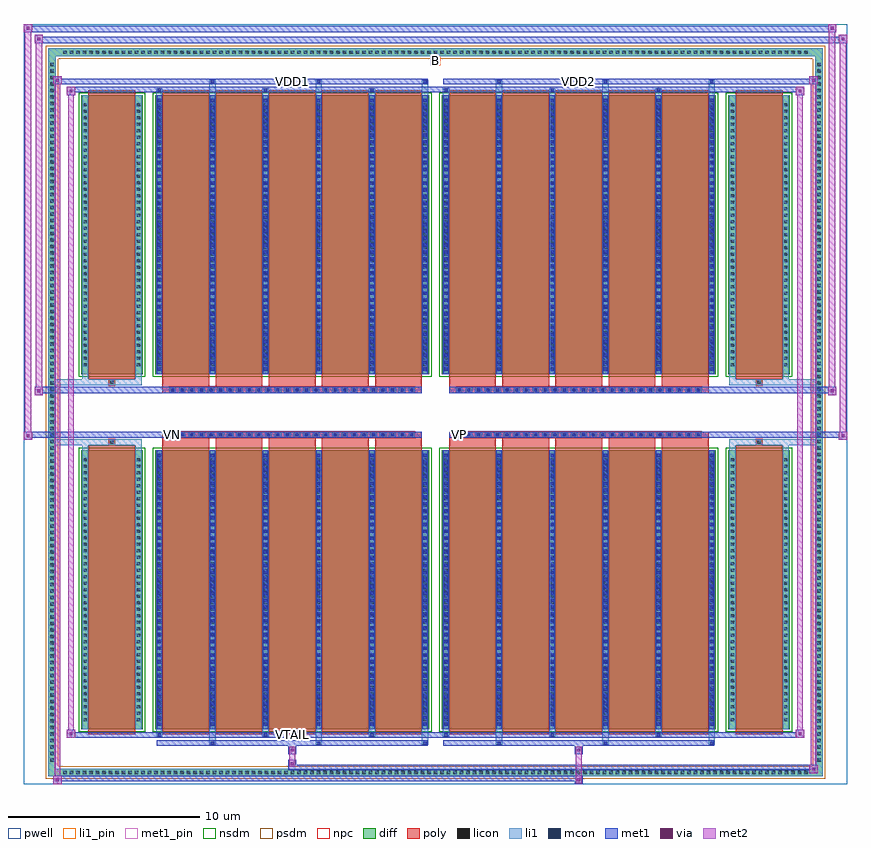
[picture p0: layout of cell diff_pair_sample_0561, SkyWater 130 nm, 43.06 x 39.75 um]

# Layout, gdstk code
import gdstk
lib = gdstk.Library(unit=1e-6, precision=5e-09)
def R(c, l, rs):  # rectangles x0, y0, x1, y1
    for r in rs: c.add(gdstk.rectangle(r[:2], r[2:], *l))
def A(c, l, x, y, w, h, nx, ny, dx, dy):  # array of equal rectangles
    R(c, l, [(x+i*dx, y+j*dy, x+i*dx+w, y+j*dy+h) for i in range(nx) for j in range(ny)])
def P(c, l, *ps):  # polygons
    for p in ps: c.add(gdstk.Polygon(p, *l))
pwell = (64, 44)
diff = (65, 20)
poly = (66, 20)
licon = (66, 44)
li1_pin = (67, 16)
li1 = (67, 20)
mcon = (67, 44)
met1_pin = (68, 16)
met1 = (68, 20)
via = (68, 44)
met2 = (69, 20)
nsdm = (93, 44)
psdm = (94, 20)
npc = (95, 20)

diff_pair_sample_0561 = lib.new_cell('diff_pair_sample_0561')
R(diff_pair_sample_0561, pwell, [(-21.53,-19.44,21.53,20.31), (-18.85,-17.63,-0.01,-0.805), (0.01,-17.63,18.85,-0.805), (-18.85,0.805,-0.01,17.63), (0.01,0.805,18.85,17.63)])
A(diff_pair_sample_0561, diff, -19.585, -19.04, 0.41, 0.41, 115, 2, 0.34, 37.67)
A(diff_pair_sample_0561, diff, -20.26, -18.395, 0.41, 0.41, 1, 108, 0, 0.34)
A(diff_pair_sample_0561, diff, 19.85, -18.395, 0.41, 0.41, 1, 108, 0, 0.34)
R(diff_pair_sample_0561, diff, [(-19.585,-19.04,19.585,-18.63), (-20.26,-18.395,-19.85,18.395), (19.85,-18.395,20.26,18.395), (-18.54,-16.585,-15.31,-1.985), (-14.67,-16.585,-0.32,-1.985), (0.32,-16.585,14.67,-1.985), (15.31,-16.585,18.54,-1.985), (-18.54,1.985,-15.31,16.585), (-14.67,1.985,-0.32,16.585), (0.32,1.985,14.67,16.585), (15.31,1.985,18.54,16.585), (-19.585,18.63,19.585,19.04)])
P(diff_pair_sample_0561, diff, [(20.26,19.04),(-20.26,19.04),(-20.26,-18.63),(-19.85,-18.63),(-19.85,18.63),(19.85,18.63),(19.85,-18.63),(-19.85,-18.63),(-20.26,-18.63),(-20.26,-19.04),(20.26,-19.04)])
A(diff_pair_sample_0561, poly, -14.28, -16.835, 2.45, 15.1, 5, 2, 2.78, 18.57)
A(diff_pair_sample_0561, poly, 0.71, -16.835, 2.45, 15.1, 5, 2, 2.78, 18.57)
A(diff_pair_sample_0561, poly, -14.28, -1.735, 2.45, 0.4, 5, 2, 2.78, 3.07)
A(diff_pair_sample_0561, poly, 0.71, -1.735, 2.45, 0.4, 5, 2, 2.78, 3.07)
A(diff_pair_sample_0561, poly, -13.91, -1.335, 0.33, 0.33, 26, 2, 0.5, 2.34)
A(diff_pair_sample_0561, poly, 1.08, -1.335, 0.33, 0.33, 26, 2, 0.5, 2.34)
R(diff_pair_sample_0561, poly, [(-18.15,-16.835,-15.7,-1.735), (15.7,-16.835,18.15,-1.735), (-17.09,-1.735,-16.76,-1.405), (-17.09,-1.735,-16.76,-1.405), (16.76,-1.735,17.09,-1.405), (16.76,-1.735,17.09,-1.405), (-14.28,-1.335,-0.71,-1.005), (0.71,-1.335,14.28,-1.005), (-14.28,1.005,-0.71,1.335), (0.71,1.005,14.28,1.335), (-17.09,1.405,-16.76,1.735), (-17.09,1.405,-16.76,1.735), (16.76,1.405,17.09,1.735), (16.76,1.405,17.09,1.735), (-18.15,1.735,-15.7,16.835), (15.7,1.735,18.15,16.835)])
A(diff_pair_sample_0561, licon, -19.465, -18.92, 0.17, 0.17, 115, 2, 0.34, 37.67)
A(diff_pair_sample_0561, licon, -20.14, -18.275, 0.17, 0.17, 1, 108, 0, 0.34)
A(diff_pair_sample_0561, licon, 19.97, -18.275, 0.17, 0.17, 1, 108, 0, 0.34)
A(diff_pair_sample_0561, licon, -18.4, -16.17, 0.17, 0.17, 1, 41, 0, 0.34)
A(diff_pair_sample_0561, licon, -15.62, -16.17, 0.17, 0.17, 1, 41, 0, 0.34)
A(diff_pair_sample_0561, licon, -14.53, -16.17, 0.17, 0.17, 6, 41, 2.78, 0.34)
A(diff_pair_sample_0561, licon, 0.46, -16.17, 0.17, 0.17, 6, 41, 2.78, 0.34)
A(diff_pair_sample_0561, licon, 15.45, -16.17, 0.17, 0.17, 1, 41, 0, 0.34)
A(diff_pair_sample_0561, licon, 18.23, -16.17, 0.17, 0.17, 1, 41, 0, 0.34)
A(diff_pair_sample_0561, licon, -13.83, -1.255, 0.17, 0.17, 26, 2, 0.5, 2.34)
A(diff_pair_sample_0561, licon, 1.16, -1.255, 0.17, 0.17, 26, 2, 0.5, 2.34)
A(diff_pair_sample_0561, licon, -18.4, 2.4, 0.17, 0.17, 1, 41, 0, 0.34)
A(diff_pair_sample_0561, licon, -15.62, 2.4, 0.17, 0.17, 1, 41, 0, 0.34)
A(diff_pair_sample_0561, licon, -14.53, 2.4, 0.17, 0.17, 6, 41, 2.78, 0.34)
A(diff_pair_sample_0561, licon, 0.46, 2.4, 0.17, 0.17, 6, 41, 2.78, 0.34)
A(diff_pair_sample_0561, licon, 15.45, 2.4, 0.17, 0.17, 1, 41, 0, 0.34)
A(diff_pair_sample_0561, licon, 18.23, 2.4, 0.17, 0.17, 1, 41, 0, 0.34)
R(diff_pair_sample_0561, licon, [(-17.01,-1.655,-16.84,-1.485), (16.84,-1.655,17.01,-1.485), (-17.01,1.485,-16.84,1.655), (16.84,1.485,17.01,1.655)])
R(diff_pair_sample_0561, li1_pin, [(-0.25,18.13,0.25,18.63)])
A(diff_pair_sample_0561, li1, -19.545, -19, 0.33, 0.33, 115, 2, 0.34, 37.67)
A(diff_pair_sample_0561, li1, -20.22, -18.355, 0.33, 0.33, 1, 108, 0, 0.34)
A(diff_pair_sample_0561, li1, 19.89, -18.355, 0.33, 0.33, 1, 108, 0, 0.34)
A(diff_pair_sample_0561, li1, -11.83, -17.39, 0.33, 0.805, 3, 2, 5.56, 33.975)
A(diff_pair_sample_0561, li1, -11.75, -17.39, 0.17, 0.17, 3, 2, 5.56, 34.61)
A(diff_pair_sample_0561, li1, 3.16, -17.39, 0.33, 0.805, 3, 2, 5.56, 33.975)
A(diff_pair_sample_0561, li1, 3.24, -17.39, 0.17, 0.17, 3, 2, 5.56, 34.61)
A(diff_pair_sample_0561, li1, -14.61, -16.96, 0.33, 0.375, 3, 2, 5.56, 33.545)
A(diff_pair_sample_0561, li1, -14.53, -16.96, 0.17, 0.17, 3, 2, 5.56, 33.75)
A(diff_pair_sample_0561, li1, 0.38, -16.96, 0.33, 0.375, 3, 2, 5.56, 33.545)
A(diff_pair_sample_0561, li1, 0.46, -16.96, 0.17, 0.17, 3, 2, 5.56, 33.75)
A(diff_pair_sample_0561, li1, -14.61, -16.585, 0.33, 14.6, 6, 2, 2.78, 18.57)
A(diff_pair_sample_0561, li1, 0.38, -16.585, 0.33, 14.6, 6, 2, 2.78, 18.57)
A(diff_pair_sample_0561, li1, -14.53, -16.39, 0.17, 0.17, 6, 40, 2.78, 0.36)
A(diff_pair_sample_0561, li1, -14.53, -16.39, 0.17, 14.21, 6, 2, 2.78, 18.57)
A(diff_pair_sample_0561, li1, 0.46, -16.39, 0.17, 0.17, 6, 40, 2.78, 0.36)
A(diff_pair_sample_0561, li1, 0.46, -16.39, 0.17, 14.21, 6, 2, 2.78, 18.57)
A(diff_pair_sample_0561, li1, -18.48, -16.25, 0.33, 0.33, 1, 41, 0, 0.34)
A(diff_pair_sample_0561, li1, -15.7, -16.25, 0.33, 0.33, 1, 41, 0, 0.34)
A(diff_pair_sample_0561, li1, -14.61, -16.25, 0.33, 0.33, 6, 41, 2.78, 0.34)
A(diff_pair_sample_0561, li1, 0.38, -16.25, 0.33, 0.33, 6, 41, 2.78, 0.34)
A(diff_pair_sample_0561, li1, 15.37, -16.25, 0.33, 0.33, 1, 41, 0, 0.34)
A(diff_pair_sample_0561, li1, 18.15, -16.25, 0.33, 0.33, 1, 41, 0, 0.34)
A(diff_pair_sample_0561, li1, -13.91, -1.335, 0.33, 0.33, 26, 2, 0.5, 2.34)
A(diff_pair_sample_0561, li1, 1.08, -1.335, 0.33, 0.33, 26, 2, 0.5, 2.34)
A(diff_pair_sample_0561, li1, -14.53, 2.18, 0.17, 0.17, 6, 40, 2.78, 0.36)
A(diff_pair_sample_0561, li1, 0.46, 2.18, 0.17, 0.17, 6, 40, 2.78, 0.36)
A(diff_pair_sample_0561, li1, -18.48, 2.32, 0.33, 0.33, 1, 41, 0, 0.34)
A(diff_pair_sample_0561, li1, -15.7, 2.32, 0.33, 0.33, 1, 41, 0, 0.34)
A(diff_pair_sample_0561, li1, -14.61, 2.32, 0.33, 0.33, 6, 41, 2.78, 0.34)
A(diff_pair_sample_0561, li1, 0.38, 2.32, 0.33, 0.33, 6, 41, 2.78, 0.34)
A(diff_pair_sample_0561, li1, 15.37, 2.32, 0.33, 0.33, 1, 41, 0, 0.34)
A(diff_pair_sample_0561, li1, 18.15, 2.32, 0.33, 0.33, 1, 41, 0, 0.34)
R(diff_pair_sample_0561, li1, [(-20.26,-19.04,-19.85,-18.63), (-20.26,-19.04,-19.85,-18.63), (-19.85,-19.04,19.85,-18.63), (19.85,-19.04,20.26,-18.63), (19.85,-19.04,20.26,-18.63), (-20.26,-18.63,-19.85,18.63), (19.85,-18.63,20.26,18.63), (-18.48,-16.585,-18.15,-1.985), (-15.7,-16.585,-15.37,-1.985), (15.37,-16.585,15.7,-1.985), (18.15,-16.585,18.48,-1.985), (-18.48,-1.985,-18.15,-1.405), (-15.7,-1.985,-15.37,-1.405), (15.37,-1.985,15.7,-1.405), (18.15,-1.985,18.48,-1.405), (-20.26,-1.735,-17.09,-1.405), (-18.48,-1.735,-17.09,-1.405), (-17.09,-1.735,-16.76,-1.405), (-16.76,-1.735,-15.37,-1.405), (15.37,-1.735,16.76,-1.405), (16.76,-1.735,17.09,-1.405), (16.76,-1.735,20.26,-1.405), (17.09,-1.735,18.48,-1.405), (-20.26,1.405,-17.09,1.735), (-18.48,1.405,-17.09,1.735), (-18.48,1.405,-18.15,1.985), (-17.09,1.405,-16.76,1.735), (-16.76,1.405,-15.37,1.735), (-15.7,1.405,-15.37,1.985), (15.37,1.405,16.76,1.735), (15.37,1.405,15.7,1.985), (16.76,1.405,17.09,1.735), (16.76,1.405,20.26,1.735), (17.09,1.405,18.48,1.735), (18.15,1.405,18.48,1.985), (-18.48,1.985,-18.15,16.585), (-15.7,1.985,-15.37,16.585), (15.37,1.985,15.7,16.585), (18.15,1.985,18.48,16.585), (-20.26,18.63,-19.85,19.04), (-20.26,18.63,-19.85,19.04), (-19.85,18.63,19.85,19.04), (19.85,18.63,20.26,19.04), (19.85,18.63,20.26,19.04)])
A(diff_pair_sample_0561, mcon, -11.75, -17.39, 0.17, 0.17, 3, 2, 5.56, 34.61)
A(diff_pair_sample_0561, mcon, 3.24, -17.39, 0.17, 0.17, 3, 2, 5.56, 34.61)
A(diff_pair_sample_0561, mcon, -14.53, -16.96, 0.17, 0.17, 3, 2, 5.56, 33.75)
A(diff_pair_sample_0561, mcon, 0.46, -16.96, 0.17, 0.17, 3, 2, 5.56, 33.75)
A(diff_pair_sample_0561, mcon, -14.53, -16.39, 0.17, 0.17, 6, 40, 2.78, 0.36)
A(diff_pair_sample_0561, mcon, 0.46, -16.39, 0.17, 0.17, 6, 40, 2.78, 0.36)
A(diff_pair_sample_0561, mcon, -13.83, -1.255, 0.17, 0.17, 26, 2, 0.5, 2.34)
A(diff_pair_sample_0561, mcon, 1.16, -1.255, 0.17, 0.17, 26, 2, 0.5, 2.34)
A(diff_pair_sample_0561, mcon, -14.53, 2.18, 0.17, 0.17, 6, 40, 2.78, 0.36)
A(diff_pair_sample_0561, mcon, 0.46, 2.18, 0.17, 0.17, 6, 40, 2.78, 0.36)
R(diff_pair_sample_0561, met1_pin, [(-7.63,-17,-7.36,-16.73), (-13.88,-1.295,-13.61,-1.025), (1.11,-1.295,1.38,-1.025), (-7.63,17.18,-7.36,17.45), (7.36,17.18,7.63,17.45)])
A(diff_pair_sample_0561, met1, -11.81, -17.45, 0.29, 0.29, 3, 2, 5.56, 34.61)
A(diff_pair_sample_0561, met1, 3.18, -17.45, 0.29, 0.29, 3, 2, 5.56, 34.61)
A(diff_pair_sample_0561, met1, -14.59, -17.02, 0.29, 0.29, 3, 2, 5.56, 33.75)
A(diff_pair_sample_0561, met1, 0.4, -17.02, 0.29, 0.29, 3, 2, 5.56, 33.75)
A(diff_pair_sample_0561, met1, -14.59, -16.585, 0.29, 14.6, 6, 2, 2.78, 18.57)
A(diff_pair_sample_0561, met1, 0.4, -16.585, 0.29, 14.6, 6, 2, 2.78, 18.57)
A(diff_pair_sample_0561, met1, -14.59, -16.45, 0.29, 0.29, 6, 40, 2.78, 0.36)
A(diff_pair_sample_0561, met1, 0.4, -16.45, 0.29, 0.29, 6, 40, 2.78, 0.36)
A(diff_pair_sample_0561, met1, -13.89, -1.315, 0.29, 0.29, 26, 2, 0.5, 2.34)
A(diff_pair_sample_0561, met1, 1.1, -1.315, 0.29, 0.29, 26, 2, 0.5, 2.34)
A(diff_pair_sample_0561, met1, -14.59, 2.12, 0.29, 0.29, 6, 40, 2.78, 0.36)
A(diff_pair_sample_0561, met1, 0.4, 2.12, 0.29, 0.29, 6, 40, 2.78, 0.36)
R(diff_pair_sample_0561, met1, [(-19.99,-19.44,-19.56,-19.01), (7.28,-19.44,7.71,-19.01), (-19.99,-19.3,7.71,-19.01), (19.56,-18.87,19.99,-18.44), (-7.71,-18.73,19.99,-18.44), (-7.71,-18.59,-7.28,-18.16), (-7.71,-17.88,-7.28,-17.45), (7.28,-17.88,7.71,-17.45), (-14.59,-17.45,-0.4,-17.16), (0.4,-17.45,14.59,-17.16), (-19.28,-17.02,-18.85,-16.59), (-19.28,-17.02,-14.59,-16.73), (-14.59,-17.02,-0.4,-16.73), (-0.4,-17.02,0.4,-16.73), (0.4,-17.02,14.59,-16.73), (14.59,-17.02,19.28,-16.73), (18.85,-17.02,19.28,-16.59), (-21.53,-1.435,-21.1,-1.005), (21.1,-1.435,21.53,-1.005), (-21.53,-1.335,-0.71,-1.005), (-14.28,-1.335,-0.71,-1.005), (0.71,-1.335,14.28,-1.005), (0.71,-1.335,21.53,-1.005), (-20.96,0.905,-20.53,1.335), (20.53,0.905,20.96,1.335), (-20.96,1.005,-14.28,1.335), (-14.28,1.005,-0.71,1.335), (0.71,1.005,14.28,1.335), (14.28,1.005,20.96,1.335), (-19.28,16.59,-18.85,17.02), (18.85,16.59,19.28,17.02), (-19.28,16.73,-14.59,17.02), (-14.59,16.73,-0.4,17.02), (-0.4,16.73,0.4,17.02), (0.4,16.73,14.59,17.02), (14.59,16.73,19.28,17.02), (-19.99,17.16,-19.56,17.59), (-19.99,17.16,-14.59,17.45), (-14.59,17.16,-0.4,17.45), (0.4,17.16,14.59,17.45), (14.59,17.16,19.99,17.45), (19.56,17.16,19.99,17.59), (-20.96,19.31,-20.53,19.74), (-20.96,19.31,-18.85,19.64), (-18.85,19.31,18.85,19.64), (18.85,19.31,21.53,19.64), (21.1,19.31,21.53,19.74), (-21.53,19.88,-21.1,20.31), (-21.53,19.88,-18.85,20.21), (-18.85,19.88,18.85,20.21), (18.85,19.88,20.96,20.21), (20.53,19.88,20.96,20.31)])
R(diff_pair_sample_0561, via, [(-19.85,-19.3,-19.7,-19.15), (7.42,-19.3,7.57,-19.15), (19.7,-18.73,19.85,-18.58), (-7.57,-18.45,-7.42,-18.3), (-7.57,-17.74,-7.42,-17.59), (7.42,-17.74,7.57,-17.59), (-19.14,-16.88,-18.99,-16.73), (18.99,-16.88,19.14,-16.73), (-21.39,-1.295,-21.24,-1.145), (21.24,-1.295,21.39,-1.145), (-20.82,1.045,-20.67,1.195), (20.67,1.045,20.82,1.195), (-19.14,16.73,-18.99,16.88), (18.99,16.73,19.14,16.88), (-19.85,17.3,-19.7,17.45), (19.7,17.3,19.85,17.45), (-20.82,19.45,-20.67,19.6), (21.24,19.45,21.39,19.6), (-21.39,20.02,-21.24,20.17), (20.67,20.02,20.82,20.17)])
R(diff_pair_sample_0561, met2, [(-19.99,-19.44,-19.56,-19.01), (-19.92,-19.44,-19.63,17.59), (-19.63,-19.44,-19.56,-19.01), (-19.94,-19.39,-19.61,-19.06), (7.33,-19.39,7.66,-19.06), (7.33,-19.06,7.66,-17.83), (19.56,-18.87,19.99,-18.44), (19.63,-18.87,19.92,17.59), (19.92,-18.87,19.99,-18.44), (19.61,-18.82,19.94,-18.49), (-7.66,-18.54,-7.33,-18.21), (-7.66,-18.21,-7.33,-17.83), (-7.66,-17.83,-7.33,-17.5), (7.33,-17.83,7.66,-17.5), (-19.28,-17.02,-18.85,-16.59), (-19.21,-17.02,-18.92,17.02), (-18.92,-17.02,-18.85,-16.59), (18.85,-17.02,19.28,-16.59), (18.92,-17.02,19.21,17.02), (19.21,-17.02,19.28,-16.59), (-19.23,-16.97,-18.9,-16.64), (18.9,-16.97,19.23,-16.64), (-21.53,-1.435,-21.1,-1.005), (-21.48,-1.435,-21.15,20.31), (-21.15,-1.435,-21.1,-1.005), (21.1,-1.435,21.53,-1.005), (21.15,-1.435,21.48,19.74), (21.48,-1.435,21.53,-1.005), (-21.48,-1.385,-21.15,-1.055), (21.15,-1.385,21.48,-1.055), (-20.96,0.905,-20.53,1.335), (-20.91,0.905,-20.58,19.74), (-20.58,0.905,-20.53,1.335), (20.53,0.905,20.96,1.335), (20.58,0.905,20.91,20.31), (20.91,0.905,20.96,1.335), (-20.91,0.955,-20.58,1.285), (20.58,0.955,20.91,1.285), (-19.28,16.59,-18.85,17.02), (-18.92,16.59,-18.85,17.02), (18.85,16.59,19.28,17.02), (19.21,16.59,19.28,17.02), (-19.23,16.64,-18.9,16.97), (18.9,16.64,19.23,16.97), (-19.99,17.16,-19.56,17.59), (-19.63,17.16,-19.56,17.59), (19.56,17.16,19.99,17.59), (19.92,17.16,19.99,17.59), (-19.94,17.21,-19.61,17.54), (19.61,17.21,19.94,17.54), (-20.96,19.31,-20.53,19.74), (-20.58,19.31,-20.53,19.74), (21.1,19.31,21.53,19.74), (21.48,19.31,21.53,19.74), (-20.91,19.36,-20.58,19.69), (21.15,19.36,21.48,19.69), (-21.53,19.88,-21.1,20.31), (-21.15,19.88,-21.1,20.31), (20.53,19.88,20.96,20.31), (20.91,19.88,20.96,20.31), (-21.48,19.93,-21.15,20.26), (20.58,19.93,20.91,20.26)])
R(diff_pair_sample_0561, nsdm, [(-18.67,-16.715,-15.18,-1.855), (-14.8,-16.715,-0.19,-1.855), (0.19,-16.715,14.8,-1.855), (15.18,-16.715,18.67,-1.855), (-18.67,1.855,-15.18,16.715), (-14.8,1.855,-0.19,16.715), (0.19,1.855,14.8,16.715), (15.18,1.855,18.67,16.715)])
P(diff_pair_sample_0561, psdm, [(20.39,19.17),(-20.39,19.17),(-20.39,-18.5),(-19.72,-18.5),(-19.72,18.5),(19.72,18.5),(19.72,-18.5),(-19.72,-18.5),(-20.39,-18.5),(-20.39,-19.17),(20.39,-19.17)])
A(diff_pair_sample_0561, npc, -13.93, -1.355, 0.37, 0.37, 26, 2, 0.5, 2.34)
A(diff_pair_sample_0561, npc, 1.06, -1.355, 0.37, 0.37, 26, 2, 0.5, 2.34)
R(diff_pair_sample_0561, npc, [(-17.11,-1.755,-16.74,-1.385), (16.74,-1.755,17.11,-1.385), (-13.93,-1.355,-13.06,-0.985), (-13.93,-1.355,-13.06,-0.985), (-13.43,-1.355,-12.56,-0.985), (-13.43,-1.355,-12.56,-0.985), (-12.93,-1.355,-12.06,-0.985), (-12.93,-1.355,-12.06,-0.985), (-12.43,-1.355,-11.56,-0.985), (-12.43,-1.355,-11.56,-0.985), (-11.93,-1.355,-11.06,-0.985), (-11.93,-1.355,-11.06,-0.985), (-11.43,-1.355,-10.56,-0.985), (-11.43,-1.355,-10.56,-0.985), (-10.93,-1.355,-10.06,-0.985), (-10.93,-1.355,-10.06,-0.985), (-10.43,-1.355,-9.56,-0.985), (-10.43,-1.355,-9.56,-0.985), (-9.93,-1.355,-9.06,-0.985), (-9.93,-1.355,-9.06,-0.985), (-9.43,-1.355,-8.56,-0.985), (-9.43,-1.355,-8.56,-0.985), (-8.93,-1.355,-8.06,-0.985), (-8.93,-1.355,-8.06,-0.985), (-8.43,-1.355,-7.56,-0.985), (-8.43,-1.355,-7.56,-0.985), (-7.93,-1.355,-7.06,-0.985), (-7.93,-1.355,-7.06,-0.985), (-7.43,-1.355,-6.56,-0.985), (-7.43,-1.355,-6.56,-0.985), (-6.93,-1.355,-6.06,-0.985), (-6.93,-1.355,-6.06,-0.985), (-6.43,-1.355,-5.56,-0.985), (-6.43,-1.355,-5.56,-0.985), (-5.93,-1.355,-5.06,-0.985), (-5.93,-1.355,-5.06,-0.985), (-5.43,-1.355,-4.56,-0.985), (-5.43,-1.355,-4.56,-0.985), (-4.93,-1.355,-4.06,-0.985), (-4.93,-1.355,-4.06,-0.985), (-4.43,-1.355,-3.56,-0.985), (-4.43,-1.355,-3.56,-0.985), (-3.93,-1.355,-3.06,-0.985), (-3.93,-1.355,-3.06,-0.985), (-3.43,-1.355,-2.56,-0.985), (-3.43,-1.355,-2.56,-0.985), (-2.93,-1.355,-2.06,-0.985), (-2.93,-1.355,-2.06,-0.985), (-2.43,-1.355,-1.56,-0.985), (-2.43,-1.355,-1.56,-0.985), (-1.93,-1.355,-1.06,-0.985), (-1.93,-1.355,-1.06,-0.985), (1.06,-1.355,1.93,-0.985), (1.06,-1.355,1.93,-0.985), (1.56,-1.355,2.43,-0.985), (1.56,-1.355,2.43,-0.985), (2.06,-1.355,2.93,-0.985), (2.06,-1.355,2.93,-0.985), (2.56,-1.355,3.43,-0.985), (2.56,-1.355,3.43,-0.985), (3.06,-1.355,3.93,-0.985), (3.06,-1.355,3.93,-0.985), (3.56,-1.355,4.43,-0.985), (3.56,-1.355,4.43,-0.985), (4.06,-1.355,4.93,-0.985), (4.06,-1.355,4.93,-0.985), (4.56,-1.355,5.43,-0.985), (4.56,-1.355,5.43,-0.985), (5.06,-1.355,5.93,-0.985), (5.06,-1.355,5.93,-0.985), (5.56,-1.355,6.43,-0.985), (5.56,-1.355,6.43,-0.985), (6.06,-1.355,6.93,-0.985), (6.06,-1.355,6.93,-0.985), (6.56,-1.355,7.43,-0.985), (6.56,-1.355,7.43,-0.985), (7.06,-1.355,7.93,-0.985), (7.06,-1.355,7.93,-0.985), (7.56,-1.355,8.43,-0.985), (7.56,-1.355,8.43,-0.985), (8.06,-1.355,8.93,-0.985), (8.06,-1.355,8.93,-0.985), (8.56,-1.355,9.43,-0.985), (8.56,-1.355,9.43,-0.985), (9.06,-1.355,9.93,-0.985), (9.06,-1.355,9.93,-0.985), (9.56,-1.355,10.43,-0.985), (9.56,-1.355,10.43,-0.985), (10.06,-1.355,10.93,-0.985), (10.06,-1.355,10.93,-0.985), (10.56,-1.355,11.43,-0.985), (10.56,-1.355,11.43,-0.985), (11.06,-1.355,11.93,-0.985), (11.06,-1.355,11.93,-0.985), (11.56,-1.355,12.43,-0.985), (11.56,-1.355,12.43,-0.985), (12.06,-1.355,12.93,-0.985), (12.06,-1.355,12.93,-0.985), (12.56,-1.355,13.43,-0.985), (12.56,-1.355,13.43,-0.985), (13.06,-1.355,13.93,-0.985), (13.06,-1.355,13.93,-0.985), (-13.93,0.985,-13.06,1.355), (-13.93,0.985,-13.06,1.355), (-13.43,0.985,-12.56,1.355), (-13.43,0.985,-12.56,1.355), (-12.93,0.985,-12.06,1.355), (-12.93,0.985,-12.06,1.355), (-12.43,0.985,-11.56,1.355), (-12.43,0.985,-11.56,1.355), (-11.93,0.985,-11.06,1.355), (-11.93,0.985,-11.06,1.355), (-11.43,0.985,-10.56,1.355), (-11.43,0.985,-10.56,1.355), (-10.93,0.985,-10.06,1.355), (-10.93,0.985,-10.06,1.355), (-10.43,0.985,-9.56,1.355), (-10.43,0.985,-9.56,1.355), (-9.93,0.985,-9.06,1.355), (-9.93,0.985,-9.06,1.355), (-9.43,0.985,-8.56,1.355), (-9.43,0.985,-8.56,1.355), (-8.93,0.985,-8.06,1.355), (-8.93,0.985,-8.06,1.355), (-8.43,0.985,-7.56,1.355), (-8.43,0.985,-7.56,1.355), (-7.93,0.985,-7.06,1.355), (-7.93,0.985,-7.06,1.355), (-7.43,0.985,-6.56,1.355), (-7.43,0.985,-6.56,1.355), (-6.93,0.985,-6.06,1.355), (-6.93,0.985,-6.06,1.355), (-6.43,0.985,-5.56,1.355), (-6.43,0.985,-5.56,1.355), (-5.93,0.985,-5.06,1.355), (-5.93,0.985,-5.06,1.355), (-5.43,0.985,-4.56,1.355), (-5.43,0.985,-4.56,1.355), (-4.93,0.985,-4.06,1.355), (-4.93,0.985,-4.06,1.355), (-4.43,0.985,-3.56,1.355), (-4.43,0.985,-3.56,1.355), (-3.93,0.985,-3.06,1.355), (-3.93,0.985,-3.06,1.355), (-3.43,0.985,-2.56,1.355), (-3.43,0.985,-2.56,1.355), (-2.93,0.985,-2.06,1.355), (-2.93,0.985,-2.06,1.355), (-2.43,0.985,-1.56,1.355), (-2.43,0.985,-1.56,1.355), (-1.93,0.985,-1.06,1.355), (-1.93,0.985,-1.06,1.355), (1.06,0.985,1.93,1.355), (1.06,0.985,1.93,1.355), (1.56,0.985,2.43,1.355), (1.56,0.985,2.43,1.355), (2.06,0.985,2.93,1.355), (2.06,0.985,2.93,1.355), (2.56,0.985,3.43,1.355), (2.56,0.985,3.43,1.355), (3.06,0.985,3.93,1.355), (3.06,0.985,3.93,1.355), (3.56,0.985,4.43,1.355), (3.56,0.985,4.43,1.355), (4.06,0.985,4.93,1.355), (4.06,0.985,4.93,1.355), (4.56,0.985,5.43,1.355), (4.56,0.985,5.43,1.355), (5.06,0.985,5.93,1.355), (5.06,0.985,5.93,1.355), (5.56,0.985,6.43,1.355), (5.56,0.985,6.43,1.355), (6.06,0.985,6.93,1.355), (6.06,0.985,6.93,1.355), (6.56,0.985,7.43,1.355), (6.56,0.985,7.43,1.355), (7.06,0.985,7.93,1.355), (7.06,0.985,7.93,1.355), (7.56,0.985,8.43,1.355), (7.56,0.985,8.43,1.355), (8.06,0.985,8.93,1.355), (8.06,0.985,8.93,1.355), (8.56,0.985,9.43,1.355), (8.56,0.985,9.43,1.355), (9.06,0.985,9.93,1.355), (9.06,0.985,9.93,1.355), (9.56,0.985,10.43,1.355), (9.56,0.985,10.43,1.355), (10.06,0.985,10.93,1.355), (10.06,0.985,10.93,1.355), (10.56,0.985,11.43,1.355), (10.56,0.985,11.43,1.355), (11.06,0.985,11.93,1.355), (11.06,0.985,11.93,1.355), (11.56,0.985,12.43,1.355), (11.56,0.985,12.43,1.355), (12.06,0.985,12.93,1.355), (12.06,0.985,12.93,1.355), (12.56,0.985,13.43,1.355), (12.56,0.985,13.43,1.355), (13.06,0.985,13.93,1.355), (13.06,0.985,13.93,1.355), (-17.11,1.385,-16.74,1.755), (16.74,1.385,17.11,1.755)])
diff_pair_sample_0561.add(gdstk.Label('VTAIL', (-7.495,-16.865), layer=68, texttype=5))
diff_pair_sample_0561.add(gdstk.Label('VN', (-13.745,-1.16), layer=68, texttype=5))
diff_pair_sample_0561.add(gdstk.Label('VP', (1.245,-1.16), layer=68, texttype=5))
diff_pair_sample_0561.add(gdstk.Label('B', (0,18.38), layer=67, texttype=5))
diff_pair_sample_0561.add(gdstk.Label('VDD2', (7.495,17.315), layer=68, texttype=5))
diff_pair_sample_0561.add(gdstk.Label('VDD1', (-7.495,17.315), layer=68, texttype=5))

lib.write_gds('diff_pair_sample_0561.gds')
